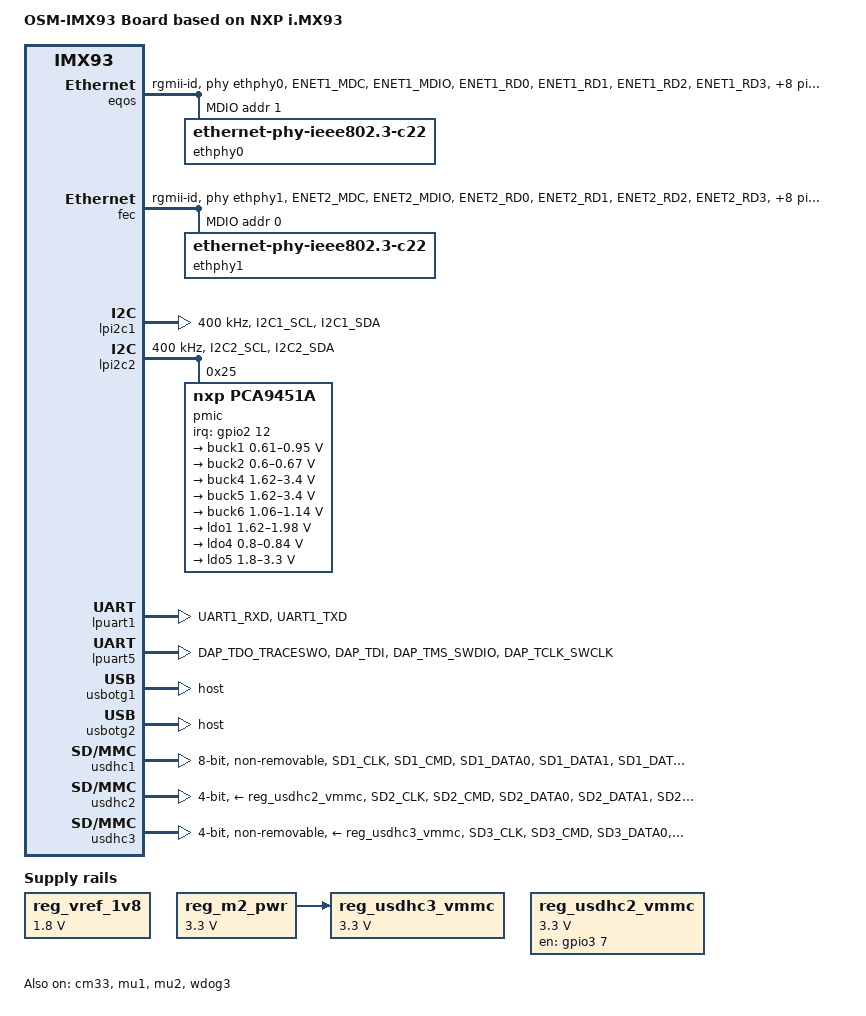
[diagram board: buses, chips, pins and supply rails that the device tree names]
// SPDX-License-Identifier: (GPL-2.0+ OR MIT)
/*
 * Copyright 2022 NXP
 */

/dts-v1/;

#include <dt-bindings/usb/pd.h>
#include "../dts/upstream/src/arm64/freescale/imx93.dtsi"

/ {
	model = "OSM-IMX93 Board based on NXP i.MX93";
	compatible = "fsl,imx93-11x11-evk", "fsl,imx93";

	aliases {
		ethernet0 = &fec;
		ethernet1 = &eqos;
		gpio0 = &gpio1;
		gpio1 = &gpio2;
		gpio2 = &gpio3;
		i2c0 = &lpi2c1;
		i2c1 = &lpi2c2;
		mmc0 = &usdhc1;
		mmc1 = &usdhc2;
		rtc0 = &bbnsm_rtc;
		serial0 = &lpuart1;
		serial1 = &lpuart2;
		serial2 = &lpuart3;
		serial3 = &lpuart4;
		serial4 = &lpuart5;
	};

	chosen {
		stdout-path = &lpuart1;
	};

	reserved-memory {
		#address-cells = <2>;
		#size-cells = <2>;
		ranges;

		linux,cma {
			compatible = "shared-dma-pool";
			reusable;
			alloc-ranges = <0 0x80000000 0 0x40000000>;
			size = <0 0x10000000>;
			linux,cma-default;
		};

		vdev0vring0: vdev0vring0@a4000000 {
			reg = <0 0xa4000000 0 0x8000>;
			no-map;
		};

		vdev0vring1: vdev0vring1@a4008000 {
			reg = <0 0xa4008000 0 0x8000>;
			no-map;
		};

		vdev1vring0: vdev1vring0@a4010000 {
			reg = <0 0xa4010000 0 0x8000>;
			no-map;
		};

		vdev1vring1: vdev1vring1@a4018000 {
			reg = <0 0xa4018000 0 0x8000>;
			no-map;
		};

		rsc_table: rsc-table@2021e000 {
			reg = <0 0x2021e000 0 0x1000>;
			no-map;
		};

		vdevbuffer: vdevbuffer@a4020000 {
			compatible = "shared-dma-pool";
			reg = <0 0xa4020000 0 0x100000>;
			no-map;
		};

	};

	reg_vref_1v8: regulator-adc-vref {
		compatible = "regulator-fixed";
		regulator-name = "vref_1v8";
		regulator-min-microvolt = <1800000>;
		regulator-max-microvolt = <1800000>;
	};

	reg_m2_pwr: regulator-m2-pwr {
		compatible = "regulator-fixed";
		regulator-name = "M.2-power";
		regulator-min-microvolt = <3300000>;
		regulator-max-microvolt = <3300000>;
	//	gpio = <&pcal6524 13 GPIO_ACTIVE_HIGH>;
		enable-active-high;
	};

	reg_usdhc2_vmmc: regulator-usdhc2 {
		compatible = "regulator-fixed";
		pinctrl-names = "default";
		pinctrl-0 = <&pinctrl_reg_usdhc2_vmmc>;
		regulator-name = "VSD_3V3";
		regulator-min-microvolt = <3300000>;
		regulator-max-microvolt = <3300000>;
		gpio = <&gpio3 7 GPIO_ACTIVE_HIGH>;
		off-on-delay-us = <12000>;
		enable-active-high;
	};

	reg_usdhc3_vmmc: regulator-usdhc3 {
		compatible = "regulator-fixed";
		regulator-name = "WLAN_EN";
		regulator-min-microvolt = <3300000>;
		regulator-max-microvolt = <3300000>;
		vin-supply = <&reg_m2_pwr>;
//		gpio = <&pcal6524 20 GPIO_ACTIVE_HIGH>;
		/*
		 * IW612 wifi chip needs more delay than other wifi chips to complete
		 * the host interface initialization after power up, otherwise the
		 * internal state of IW612 may be unstable, resulting in the failure of
		 * the SDIO3.0 switch voltage.
		 */
		startup-delay-us = <20000>;
		enable-active-high;
	};

	usdhc3_pwrseq: usdhc3_pwrseq {
		compatible = "mmc-pwrseq-simple";
//		reset-gpios = <&pcal6524 12 GPIO_ACTIVE_LOW>;
	};

};

&cm33 {
	mbox-names = "tx", "rx", "rxdb";
	mboxes = <&mu1 0 1>,
		 <&mu1 1 1>,
		 <&mu1 3 1>;
	memory-region = <&vdevbuffer>, <&vdev0vring0>, <&vdev0vring1>,
			<&vdev1vring0>, <&vdev1vring1>, <&rsc_table>;
	status = "okay";
};

&eqos {
	pinctrl-names = "default", "sleep";
	pinctrl-0 = <&pinctrl_eqos>;
	pinctrl-1 = <&pinctrl_eqos_sleep>;
	phy-mode = "rgmii-id";
	phy-handle = <&ethphy0>;
	status = "okay";

	mdio {
		compatible = "snps,dwmac-mdio";
		#address-cells = <1>;
		#size-cells = <0>;
		clock-frequency = <5000000>;

		ethphy0: ethernet-phy@0 {
			compatible = "ethernet-phy-ieee802.3-c22";
			reg = <1>;
//			reset-gpios = <&pcal6524 15 GPIO_ACTIVE_LOW>;
//			reset-assert-us = <10000>;
//			reset-deassert-us = <80000>;
			realtek,clkout-disable;
		};
	};
};

&fec {
	pinctrl-names = "default", "sleep";
	pinctrl-0 = <&pinctrl_fec>;
	pinctrl-1 = <&pinctrl_fec_sleep>;
	phy-mode = "rgmii-id";
	phy-handle = <&ethphy1>;
	fsl,magic-packet;
	status = "okay";

	mdio {
		compatible = "snps,dwmac-mdio";
		#address-cells = <1>;
		#size-cells = <0>;
		clock-frequency = <5000000>;

		ethphy1: ethernet-phy@1 {
			compatible = "ethernet-phy-ieee802.3-c22";
			reg = <0>;
//			reset-gpios = <&pcal6524 16 GPIO_ACTIVE_LOW>;
//			reset-assert-us = <10000>;
//			reset-deassert-us = <80000>;
			realtek,clkout-disable;
		};
	};
};

&lpi2c1 {
	clock-frequency = <400000>;
	pinctrl-names = "default";
	pinctrl-0 = <&pinctrl_lpi2c1>;
	status = "okay";
};

&lpi2c2 {
	clock-frequency = <400000>;
	pinctrl-names = "default";
	pinctrl-0 = <&pinctrl_lpi2c2>;
	status = "okay";

	pmic@25 {
		compatible = "nxp,pca9451a";
		reg = <0x25>;
		interrupt-parent = <&gpio2>;
		interrupts = <12 IRQ_TYPE_EDGE_FALLING>;

		regulators {
			buck1: BUCK1 {
				regulator-name = "BUCK1";
				regulator-min-microvolt = <610000>;
				regulator-max-microvolt = <950000>;
				regulator-boot-on;
				regulator-always-on;
				regulator-ramp-delay = <3125>;
			};

			buck2: BUCK2 {
				regulator-name = "BUCK2";
				regulator-min-microvolt = <600000>;
				regulator-max-microvolt = <670000>;
				regulator-boot-on;
				regulator-always-on;
				regulator-ramp-delay = <3125>;
			};

			buck4: BUCK4 {
				regulator-name = "BUCK4";
				regulator-min-microvolt = <1620000>;
				regulator-max-microvolt = <3400000>;
				regulator-boot-on;
				regulator-always-on;
			};

			buck5: BUCK5 {
				regulator-name = "BUCK5";
				regulator-min-microvolt = <1620000>;
				regulator-max-microvolt = <3400000>;
				regulator-boot-on;
				regulator-always-on;
			};

			buck6: BUCK6 {
				regulator-name = "BUCK6";
				regulator-min-microvolt = <1060000>;
				regulator-max-microvolt = <1140000>;
				regulator-boot-on;
				regulator-always-on;
			};

			ldo1: LDO1 {
				regulator-name = "LDO1";
				regulator-min-microvolt = <1620000>;
				regulator-max-microvolt = <1980000>;
				regulator-boot-on;
				regulator-always-on;
			};

			ldo4: LDO4 {
				regulator-name = "LDO4";
				regulator-min-microvolt = <800000>;
				regulator-max-microvolt = <840000>;
				regulator-boot-on;
				regulator-always-on;
			};

			ldo5: LDO5 {
				regulator-name = "LDO5";
				regulator-min-microvolt = <1800000>;
				regulator-max-microvolt = <3300000>;
				regulator-boot-on;
				regulator-always-on;
			};
		};
	};
};

&lpuart1 { /* console */
	pinctrl-names = "default";
	pinctrl-0 = <&pinctrl_uart1>;
	status = "okay";
};

&lpuart5 {
	pinctrl-names = "default";
	pinctrl-0 = <&pinctrl_uart5>;
	status = "okay";
};


&mu1 {
	status = "okay";
};

&mu2 {
	status = "okay";
};

&usbotg1 {
	dr_mode = "host";
	hnp-disable;
	srp-disable;
	adp-disable;
	usb-role-switch;
	disable-over-current;
	samsung,picophy-pre-emp-curr-control = <3>;
	samsung,picophy-dc-vol-level-adjust = <7>;
	status = "okay";
};

&usbotg2 {
	dr_mode = "host";
	hnp-disable;
	srp-disable;
	adp-disable;
	usb-role-switch;
	disable-over-current;
	samsung,picophy-pre-emp-curr-control = <3>;
	samsung,picophy-dc-vol-level-adjust = <7>;
	status = "okay";
};

&usdhc1 {
	pinctrl-names = "default", "state_100mhz", "state_200mhz";
	pinctrl-0 = <&pinctrl_usdhc1>;
	pinctrl-1 = <&pinctrl_usdhc1_100mhz>;
	pinctrl-2 = <&pinctrl_usdhc1_200mhz>;
	bus-width = <8>;
	non-removable;
	status = "okay";
};

&usdhc2 {
	pinctrl-names = "default", "state_100mhz", "state_200mhz", "sleep";
	pinctrl-0 = <&pinctrl_usdhc2>, <&pinctrl_usdhc2_gpio>;
	pinctrl-1 = <&pinctrl_usdhc2_100mhz>, <&pinctrl_usdhc2_gpio>;
	pinctrl-2 = <&pinctrl_usdhc2_200mhz>, <&pinctrl_usdhc2_gpio>;
	pinctrl-3 = <&pinctrl_usdhc2_sleep>, <&pinctrl_usdhc2_gpio_sleep>;
	cd-gpios = <&gpio3 00 GPIO_ACTIVE_LOW>;
	vmmc-supply = <&reg_usdhc2_vmmc>;
	bus-width = <4>;
	status = "okay";
	no-mmc;
};

&usdhc3 {
	pinctrl-names = "default", "state_100mhz", "state_200mhz", "sleep";
	pinctrl-0 = <&pinctrl_usdhc3>, <&pinctrl_usdhc3_wlan>;
	pinctrl-1 = <&pinctrl_usdhc3_100mhz>, <&pinctrl_usdhc3_wlan>;
	pinctrl-2 = <&pinctrl_usdhc3_200mhz>, <&pinctrl_usdhc3_wlan>;
	pinctrl-3 = <&pinctrl_usdhc3_sleep>, <&pinctrl_usdhc3_wlan>;
	mmc-pwrseq = <&usdhc3_pwrseq>;
	vmmc-supply = <&reg_usdhc3_vmmc>;
	bus-width = <4>;
	keep-power-in-suspend;
	non-removable;
	wakeup-source;
	status = "okay";
};

&wdog3 {
	pinctrl-names = "default";
	pinctrl-0 = <&pinctrl_wdog>;
	fsl,ext-reset-output;
	status = "okay";
};

&iomuxc {
	pinctrl_eqos: eqosgrp {
		fsl,pins = <
			MX93_PAD_ENET1_MDC__ENET_QOS_MDC			0x57e
			MX93_PAD_ENET1_MDIO__ENET_QOS_MDIO			0x57e
			MX93_PAD_ENET1_RD0__ENET_QOS_RGMII_RD0			0x57e
			MX93_PAD_ENET1_RD1__ENET_QOS_RGMII_RD1			0x57e
			MX93_PAD_ENET1_RD2__ENET_QOS_RGMII_RD2			0x57e
			MX93_PAD_ENET1_RD3__ENET_QOS_RGMII_RD3			0x57e
			MX93_PAD_ENET1_RXC__CCM_ENET_QOS_CLOCK_GENERATE_RX_CLK	0x58e
			MX93_PAD_ENET1_RX_CTL__ENET_QOS_RGMII_RX_CTL		0x57e
			MX93_PAD_ENET1_TD0__ENET_QOS_RGMII_TD0			0x57e
			MX93_PAD_ENET1_TD1__ENET_QOS_RGMII_TD1			0x57e
			MX93_PAD_ENET1_TD2__ENET_QOS_RGMII_TD2			0x57e
			MX93_PAD_ENET1_TD3__ENET_QOS_RGMII_TD3			0x57e
			MX93_PAD_ENET1_TXC__CCM_ENET_QOS_CLOCK_GENERATE_TX_CLK	0x58e
			MX93_PAD_ENET1_TX_CTL__ENET_QOS_RGMII_TX_CTL		0x57e
		>;
	};

	pinctrl_eqos_sleep: eqossleepgrp {
		fsl,pins = <
			MX93_PAD_ENET1_MDC__GPIO4_IO00				0x31e
			MX93_PAD_ENET1_MDIO__GPIO4_IO01				0x31e
			MX93_PAD_ENET1_RD0__GPIO4_IO10                          0x31e
			MX93_PAD_ENET1_RD1__GPIO4_IO11				0x31e
			MX93_PAD_ENET1_RD2__GPIO4_IO12				0x31e
			MX93_PAD_ENET1_RD3__GPIO4_IO13				0x31e
			MX93_PAD_ENET1_RXC__GPIO4_IO09                          0x31e
			MX93_PAD_ENET1_RX_CTL__GPIO4_IO08			0x31e
			MX93_PAD_ENET1_TD0__GPIO4_IO05                          0x31e
			MX93_PAD_ENET1_TD1__GPIO4_IO04                          0x31e
			MX93_PAD_ENET1_TD2__GPIO4_IO03				0x31e
			MX93_PAD_ENET1_TD3__GPIO4_IO02				0x31e
			MX93_PAD_ENET1_TXC__GPIO4_IO07                          0x31e
			MX93_PAD_ENET1_TX_CTL__GPIO4_IO06                       0x31e
		>;
	};

	pinctrl_fec: fecgrp {
		fsl,pins = <
			MX93_PAD_ENET2_MDC__ENET1_MDC			0x57e
			MX93_PAD_ENET2_MDIO__ENET1_MDIO			0x57e
			MX93_PAD_ENET2_RD0__ENET1_RGMII_RD0		0x57e
			MX93_PAD_ENET2_RD1__ENET1_RGMII_RD1		0x57e
			MX93_PAD_ENET2_RD2__ENET1_RGMII_RD2		0x57e
			MX93_PAD_ENET2_RD3__ENET1_RGMII_RD3		0x57e
			MX93_PAD_ENET2_RXC__ENET1_RGMII_RXC		0x58e
			MX93_PAD_ENET2_RX_CTL__ENET1_RGMII_RX_CTL	0x57e
			MX93_PAD_ENET2_TD0__ENET1_RGMII_TD0		0x57e
			MX93_PAD_ENET2_TD1__ENET1_RGMII_TD1		0x57e
			MX93_PAD_ENET2_TD2__ENET1_RGMII_TD2		0x57e
			MX93_PAD_ENET2_TD3__ENET1_RGMII_TD3		0x57e
			MX93_PAD_ENET2_TXC__ENET1_RGMII_TXC		0x58e
			MX93_PAD_ENET2_TX_CTL__ENET1_RGMII_TX_CTL	0x57e
		>;
	};

	pinctrl_fec_sleep: fecsleepgrp {
		fsl,pins = <
			MX93_PAD_ENET2_MDC__GPIO4_IO14			0x51e
			MX93_PAD_ENET2_MDIO__GPIO4_IO15			0x51e
			MX93_PAD_ENET2_RD0__GPIO4_IO24			0x51e
			MX93_PAD_ENET2_RD1__GPIO4_IO25			0x51e
			MX93_PAD_ENET2_RD2__GPIO4_IO26			0x51e
			MX93_PAD_ENET2_RD3__GPIO4_IO27			0x51e
			MX93_PAD_ENET2_RXC__GPIO4_IO23                  0x51e
			MX93_PAD_ENET2_RX_CTL__GPIO4_IO22		0x51e
			MX93_PAD_ENET2_TD0__GPIO4_IO19			0x51e
			MX93_PAD_ENET2_TD1__GPIO4_IO18			0x51e
			MX93_PAD_ENET2_TD2__GPIO4_IO17			0x51e
			MX93_PAD_ENET2_TD3__GPIO4_IO16			0x51e
			MX93_PAD_ENET2_TXC__GPIO4_IO21                  0x51e
			MX93_PAD_ENET2_TX_CTL__GPIO4_IO20               0x51e
		>;
	};

	pinctrl_flexcan2: flexcan2grp {
		fsl,pins = <
			MX93_PAD_GPIO_IO25__CAN2_TX	0x139e
			MX93_PAD_GPIO_IO27__CAN2_RX	0x139e
		>;
	};

	pinctrl_uart1: uart1grp {
		fsl,pins = <
			MX93_PAD_UART1_RXD__LPUART1_RX			0x31e
			MX93_PAD_UART1_TXD__LPUART1_TX			0x31e
		>;
	};

	pinctrl_uart5: uart5grp {
		fsl,pins = <
			MX93_PAD_DAP_TDO_TRACESWO__LPUART5_TX		0x31e
			MX93_PAD_DAP_TDI__LPUART5_RX			0x31e
			MX93_PAD_DAP_TMS_SWDIO__LPUART5_RTS_B		0x31e
			MX93_PAD_DAP_TCLK_SWCLK__LPUART5_CTS_B		0x31e
		>;
	};

	pinctrl_lpi2c1: lpi2c1grp {
		fsl,pins = <
			MX93_PAD_I2C1_SCL__LPI2C1_SCL			0x40000b9e
			MX93_PAD_I2C1_SDA__LPI2C1_SDA			0x40000b9e
		>;
	};

	pinctrl_lpi2c2: lpi2c2grp {
		fsl,pins = <
			MX93_PAD_I2C2_SCL__LPI2C2_SCL			0x40000b9e
			MX93_PAD_I2C2_SDA__LPI2C2_SDA			0x40000b9e
		>;
	};
/*
	pinctrl_lpi2c3: lpi2c3grp {
		fsl,pins = <
			MX93_PAD_GPIO_IO28__LPI2C3_SDA			0x40000b9e
			MX93_PAD_GPIO_IO29__LPI2C3_SCL			0x40000b9e
		>;
	};
*/
	pinctrl_pcal6524: pcal6524grp {
		fsl,pins = <
			MX93_PAD_CCM_CLKO2__GPIO3_IO27			0x31e
		>;
	};

	pinctrl_pdm: pdmgrp {
		fsl,pins = <
			MX93_PAD_PDM_CLK__PDM_CLK			0x31e
			MX93_PAD_PDM_BIT_STREAM0__PDM_BIT_STREAM00	0x31e
			MX93_PAD_PDM_BIT_STREAM1__PDM_BIT_STREAM01	0x31e
		>;
	};

	pinctrl_pdm_sleep: pdmsleepgrp {
		fsl,pins = <
			MX93_PAD_PDM_CLK__GPIO1_IO08			0x31e
			MX93_PAD_PDM_BIT_STREAM0__GPIO1_IO09		0x31e
			MX93_PAD_PDM_BIT_STREAM1__GPIO1_IO10		0x31e
		>;
	};

	pinctrl_sai1: sai1grp {
		fsl,pins = <
			MX93_PAD_SAI1_TXC__SAI1_TX_BCLK			0x31e
			MX93_PAD_SAI1_TXFS__SAI1_TX_SYNC		0x31e
			MX93_PAD_SAI1_TXD0__SAI1_TX_DATA00		0x31e
			MX93_PAD_SAI1_RXD0__SAI1_RX_DATA00		0x31e
		>;
	};

	pinctrl_sai1_sleep: sai1sleepgrp {
		fsl,pins = <
			MX93_PAD_SAI1_TXC__GPIO1_IO12                   0x51e
			MX93_PAD_SAI1_TXFS__GPIO1_IO11			0x51e
			MX93_PAD_SAI1_TXD0__GPIO1_IO13			0x51e
			MX93_PAD_SAI1_RXD0__GPIO1_IO14			0x51e
		>;
	};

	/* need to config the SION for data and cmd pad, refer to ERR052021 */
	pinctrl_usdhc1: usdhc1grp {
		fsl,pins = <
			MX93_PAD_SD1_CLK__USDHC1_CLK		0x1582
			MX93_PAD_SD1_CMD__USDHC1_CMD		0x40001382
			MX93_PAD_SD1_DATA0__USDHC1_DATA0	0x40001382
			MX93_PAD_SD1_DATA1__USDHC1_DATA1	0x40001382
			MX93_PAD_SD1_DATA2__USDHC1_DATA2	0x40001382
			MX93_PAD_SD1_DATA3__USDHC1_DATA3	0x40001382
			MX93_PAD_SD1_DATA4__USDHC1_DATA4	0x40001382
			MX93_PAD_SD1_DATA5__USDHC1_DATA5	0x40001382
			MX93_PAD_SD1_DATA6__USDHC1_DATA6	0x40001382
			MX93_PAD_SD1_DATA7__USDHC1_DATA7	0x40001382
			MX93_PAD_SD1_STROBE__USDHC1_STROBE	0x1582
		>;
	};

	/* need to config the SION for data and cmd pad, refer to ERR052021 */
	pinctrl_usdhc1_100mhz: usdhc1-100mhzgrp {
		fsl,pins = <
			MX93_PAD_SD1_CLK__USDHC1_CLK		0x158e
			MX93_PAD_SD1_CMD__USDHC1_CMD		0x4000138e
			MX93_PAD_SD1_DATA0__USDHC1_DATA0	0x4000138e
			MX93_PAD_SD1_DATA1__USDHC1_DATA1	0x4000138e
			MX93_PAD_SD1_DATA2__USDHC1_DATA2	0x4000138e
			MX93_PAD_SD1_DATA3__USDHC1_DATA3	0x4000138e
			MX93_PAD_SD1_DATA4__USDHC1_DATA4	0x4000138e
			MX93_PAD_SD1_DATA5__USDHC1_DATA5	0x4000138e
			MX93_PAD_SD1_DATA6__USDHC1_DATA6	0x4000138e
			MX93_PAD_SD1_DATA7__USDHC1_DATA7	0x4000138e
			MX93_PAD_SD1_STROBE__USDHC1_STROBE	0x158e
		>;
	};

	/* need to config the SION for data and cmd pad, refer to ERR052021 */
	pinctrl_usdhc1_200mhz: usdhc1-200mhzgrp {
		fsl,pins = <
			MX93_PAD_SD1_CLK__USDHC1_CLK		0x15fe
			MX93_PAD_SD1_CMD__USDHC1_CMD		0x400013fe
			MX93_PAD_SD1_DATA0__USDHC1_DATA0	0x400013fe
			MX93_PAD_SD1_DATA1__USDHC1_DATA1	0x400013fe
			MX93_PAD_SD1_DATA2__USDHC1_DATA2	0x400013fe
			MX93_PAD_SD1_DATA3__USDHC1_DATA3	0x400013fe
			MX93_PAD_SD1_DATA4__USDHC1_DATA4	0x400013fe
			MX93_PAD_SD1_DATA5__USDHC1_DATA5	0x400013fe
			MX93_PAD_SD1_DATA6__USDHC1_DATA6	0x400013fe
			MX93_PAD_SD1_DATA7__USDHC1_DATA7	0x400013fe
			MX93_PAD_SD1_STROBE__USDHC1_STROBE	0x15fe
		>;
	};

	pinctrl_reg_usdhc2_vmmc: regusdhc2vmmcgrp {
		fsl,pins = <
			MX93_PAD_SD2_RESET_B__GPIO3_IO07	0x31e
		>;
	};

	pinctrl_sai3: sai3grp {
		fsl,pins = <
			MX93_PAD_GPIO_IO26__SAI3_TX_SYNC                0x31e
			MX93_PAD_GPIO_IO16__SAI3_TX_BCLK                0x31e
			MX93_PAD_GPIO_IO17__SAI3_MCLK           0x31e
			MX93_PAD_GPIO_IO19__SAI3_TX_DATA00              0x31e
			MX93_PAD_GPIO_IO20__SAI3_RX_DATA00              0x31e
		>;
	};

	pinctrl_sai3_sleep: sai3sleepgrp {
		fsl,pins = <
			MX93_PAD_GPIO_IO26__GPIO2_IO26			0x51e
			MX93_PAD_GPIO_IO16__GPIO2_IO16			0x51e
			MX93_PAD_GPIO_IO17__GPIO2_IO17			0x51e
			MX93_PAD_GPIO_IO19__GPIO2_IO19			0x51e
			MX93_PAD_GPIO_IO20__GPIO2_IO20			0x51e
		>;
	};

	pinctrl_spdif: spdifgrp {
		fsl,pins = <
			MX93_PAD_GPIO_IO22__SPDIF_IN		0x31e
			MX93_PAD_GPIO_IO23__SPDIF_OUT		0x31e
		>;
	};

	pinctrl_spdif_sleep: spdifsleepgrp {
		fsl,pins = <
			MX93_PAD_GPIO_IO22__GPIO2_IO22		0x31e
			MX93_PAD_GPIO_IO23__GPIO2_IO23		0x31e
		>;
	};

	pinctrl_usdhc2_gpio: usdhc2gpiogrp {
		fsl,pins = <
			MX93_PAD_SD2_CD_B__GPIO3_IO00		0x31e
		>;
	};

	pinctrl_usdhc2_gpio_sleep: usdhc2gpiosleepgrp {
		fsl,pins = <
			MX93_PAD_SD2_CD_B__GPIO3_IO00		0x51e
		>;
	};

	/* need to config the SION for data and cmd pad, refer to ERR052021 */
	pinctrl_usdhc2: usdhc2grp {
		fsl,pins = <
			MX93_PAD_SD2_CLK__USDHC2_CLK		0x1582
			MX93_PAD_SD2_CMD__USDHC2_CMD		0x40001382
			MX93_PAD_SD2_DATA0__USDHC2_DATA0	0x40001382
			MX93_PAD_SD2_DATA1__USDHC2_DATA1	0x40001382
			MX93_PAD_SD2_DATA2__USDHC2_DATA2	0x40001382
			MX93_PAD_SD2_DATA3__USDHC2_DATA3	0x40001382
			MX93_PAD_SD2_VSELECT__USDHC2_VSELECT	0x51e
		>;
	};

	/* need to config the SION for data and cmd pad, refer to ERR052021 */
	pinctrl_usdhc2_100mhz: usdhc2-100mhzgrp {
		fsl,pins = <
			MX93_PAD_SD2_CLK__USDHC2_CLK		0x158e
			MX93_PAD_SD2_CMD__USDHC2_CMD		0x4000138e
			MX93_PAD_SD2_DATA0__USDHC2_DATA0	0x4000138e
			MX93_PAD_SD2_DATA1__USDHC2_DATA1	0x4000138e
			MX93_PAD_SD2_DATA2__USDHC2_DATA2	0x4000138e
			MX93_PAD_SD2_DATA3__USDHC2_DATA3	0x4000138e
			MX93_PAD_SD2_VSELECT__USDHC2_VSELECT	0x51e
		>;
	};

	/* need to config the SION for data and cmd pad, refer to ERR052021 */
	pinctrl_usdhc2_200mhz: usdhc2-200mhzgrp {
		fsl,pins = <
			MX93_PAD_SD2_CLK__USDHC2_CLK		0x15fe
			MX93_PAD_SD2_CMD__USDHC2_CMD		0x400013fe
			MX93_PAD_SD2_DATA0__USDHC2_DATA0	0x400013fe
			MX93_PAD_SD2_DATA1__USDHC2_DATA1	0x400013fe
			MX93_PAD_SD2_DATA2__USDHC2_DATA2	0x400013fe
			MX93_PAD_SD2_DATA3__USDHC2_DATA3	0x400013fe
			MX93_PAD_SD2_VSELECT__USDHC2_VSELECT	0x51e
		>;
	};

	pinctrl_usdhc2_sleep: usdhc2sleepgrp {
		fsl,pins = <
			MX93_PAD_SD2_CLK__GPIO3_IO01            0x51e
			MX93_PAD_SD2_CMD__GPIO3_IO02		0x51e
			MX93_PAD_SD2_DATA0__GPIO3_IO03		0x51e
			MX93_PAD_SD2_DATA1__GPIO3_IO04		0x51e
			MX93_PAD_SD2_DATA2__GPIO3_IO05		0x51e
			MX93_PAD_SD2_DATA3__GPIO3_IO06		0x51e
			MX93_PAD_SD2_VSELECT__GPIO3_IO19	0x51e
		>;
	};

	/* need to config the SION for data and cmd pad, refer to ERR052021 */
	pinctrl_usdhc3: usdhc3grp {
		fsl,pins = <
			MX93_PAD_SD3_CLK__USDHC3_CLK		0x1582
			MX93_PAD_SD3_CMD__USDHC3_CMD		0x40001382
			MX93_PAD_SD3_DATA0__USDHC3_DATA0	0x40001382
			MX93_PAD_SD3_DATA1__USDHC3_DATA1	0x40001382
			MX93_PAD_SD3_DATA2__USDHC3_DATA2	0x40001382
			MX93_PAD_SD3_DATA3__USDHC3_DATA3	0x40001382
		>;
	};

	/* need to config the SION for data and cmd pad, refer to ERR052021 */
	pinctrl_usdhc3_100mhz: usdhc3-100mhzgrp {
		fsl,pins = <
			MX93_PAD_SD3_CLK__USDHC3_CLK		0x158e
			MX93_PAD_SD3_CMD__USDHC3_CMD		0x4000138e
			MX93_PAD_SD3_DATA0__USDHC3_DATA0	0x4000138e
			MX93_PAD_SD3_DATA1__USDHC3_DATA1	0x4000138e
			MX93_PAD_SD3_DATA2__USDHC3_DATA2	0x4000138e
			MX93_PAD_SD3_DATA3__USDHC3_DATA3	0x4000138e
		>;
	};

	/* need to config the SION for data and cmd pad, refer to ERR052021 */
	pinctrl_usdhc3_200mhz: usdhc3-200mhzgrp {
		fsl,pins = <
			MX93_PAD_SD3_CLK__USDHC3_CLK		0x15fe
			MX93_PAD_SD3_CMD__USDHC3_CMD		0x400013fe
			MX93_PAD_SD3_DATA0__USDHC3_DATA0	0x400013fe
			MX93_PAD_SD3_DATA1__USDHC3_DATA1	0x400013fe
			MX93_PAD_SD3_DATA2__USDHC3_DATA2	0x400013fe
			MX93_PAD_SD3_DATA3__USDHC3_DATA3	0x400013fe
		>;
	};

	pinctrl_usdhc3_sleep: usdhc3grpsleepgrp {
		fsl,pins = <
			MX93_PAD_SD3_CLK__GPIO3_IO20		0x31e
			MX93_PAD_SD3_CMD__GPIO3_IO21		0x31e
			MX93_PAD_SD3_DATA0__GPIO3_IO22		0x31e
			MX93_PAD_SD3_DATA1__GPIO3_IO23		0x31e
			MX93_PAD_SD3_DATA2__GPIO3_IO24		0x31e
			MX93_PAD_SD3_DATA3__GPIO3_IO25		0x31e
		>;
	};

	pinctrl_usdhc3_wlan: usdhc3wlangrp {
		fsl,pins = <
			MX93_PAD_CCM_CLKO1__GPIO3_IO26		0x31e
		>;
	};

	pinctrl_wdog: wdoggrp {
		fsl,pins = <
			MX93_PAD_WDOG_ANY__WDOG1_WDOG_ANY	0x31e
		>;
	};
};

#include "osm-imx93-u-boot.dtsi"
